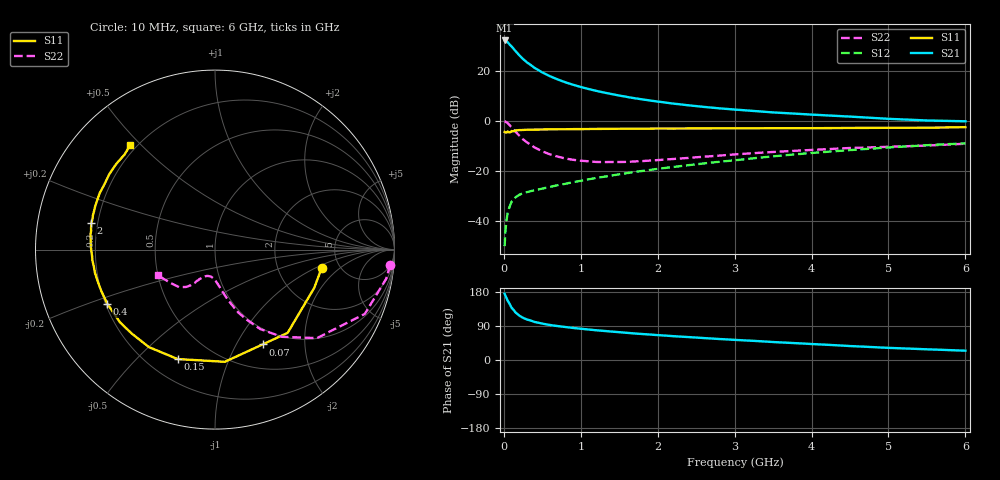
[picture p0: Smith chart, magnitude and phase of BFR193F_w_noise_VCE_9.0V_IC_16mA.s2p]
! Infineon Technologies  Discrete & RF Semiconductors
! BFR193F
! VCE =  9.0 V,  IC =  16 mA
! Common Emitter S-Parameters:  Jan 2017
# GHz  S  MA  R  50
!  f  S11  S21  S12  S22
! GHz  MAG  ANG  MAG  ANG  MAG  ANG  MAG  ANG
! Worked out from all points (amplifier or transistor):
!   77 points, 10 MHz to 6 GHz, reference 50 ohm
!   highest |S21| = 32.0 dB at 10 MHz (marker M1)
!   |S21| within 3 dB of that: start of sweep to 118.1 MHz
!   unconditionally stable (mu >= 1): 1.415 GHz to 2.76 GHz
!   at 130 MHz: K = 0.24, MSG = 29.9 dB, |S12| = -31.2 dB
!   at 2.2 GHz: K = 1.03, MAG = 11.6 dB, |S12| = -18.4 dB
!   at 6 GHz: K = 0.82, MSG = 4.4 dB, |S12| = -8.9 dB
!   lowest NFmin = 0.97 dB at 450 MHz
!   S11 on the Smith chart (normalised r, x): 10 MHz: 3.63, -1.17; 70 MHz: 0.79, -1.29; 150 MHz: 0.32, -0.67; 400 MHz: 0.21, -0.23; 2 GHz: 0.17, +0.10; 6 GHz: 0.17, +0.47
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0.01  0.6029 -9.8  39.95 175.0  0.0032 88.0  0.9805 -5.0
0.02  0.5926 -21.1  39.37 169.8  0.0063 78.9  0.9673 -9.7
0.05  0.6157 -48.9  36.82 156.3  0.0147 69.4  0.9085 -23.2
0.07  0.5911 -63.4  33.9 149.8  0.0185 63.1  0.8369 -29.5
0.1  0.6276 -85.0  30.52 138.0  0.0245 57.4  0.7526 -40.9
0.15  0.6443 -108.8  24.72 125.8  0.0299 49.4  0.6126 -52.5
0.2  0.6563 -124.1  20.35 117.3  0.0338 46.2  0.5099 -60.3
0.25  0.659 -135.0  17.04 111.3  0.0362 43.9  0.429 -65.6
0.3  0.6666 -142.7  14.64 106.9  0.0381 43.1  0.3737 -69.7
0.4  0.6717 -153.3  11.34 100.4  0.0417 44.5  0.2952 -75.1
0.5  0.6742 -160.0  9.21 96.0  0.0448 46.6  0.2471 -79.0
0.6  0.6775 -165.2  7.756 92.4  0.0486 49.0  0.2152 -82.3
0.7  0.6812 -169.1  6.689 89.5  0.0523 51.2  0.1941 -85.1
0.9  0.6857 -174.9  5.242 84.6  0.0603 55.5  0.1679 -90.4
1.1  0.6887 -179.2  4.314 80.5  0.0686 59.3  0.1569 -95.4
1.5  0.6967 174.3  3.197 73.4  0.0864 63.9  0.1519 -104.6
2  0.7053 168.0  2.426 65.7  0.1108 67.8  0.1657 -113.1
2.1  0.7043 167.0  2.318 64.4  0.1157 68.1  0.1699 -114.1
3.1  0.7113 157.6  1.638 52.1  0.1704 70.5  0.2201 -121.7
4.1  0.7168 148.3  1.31 41.2  0.2357 69.1  0.2686 -129.1
5.1  0.7285 137.9  1.083 31.3  0.3017 64.8  0.3082 -142.7
6  0.7502 129.0  0.982 24.5  0.3574 59.7  0.3509 -155.9
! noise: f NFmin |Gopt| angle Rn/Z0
0.45  0.97  0.28  157  0.06
0.9  1.06  0.38  161  0.06
1.9  1.7  0.58  -173  0.06
2.4  2  0.61  -163  0.09
